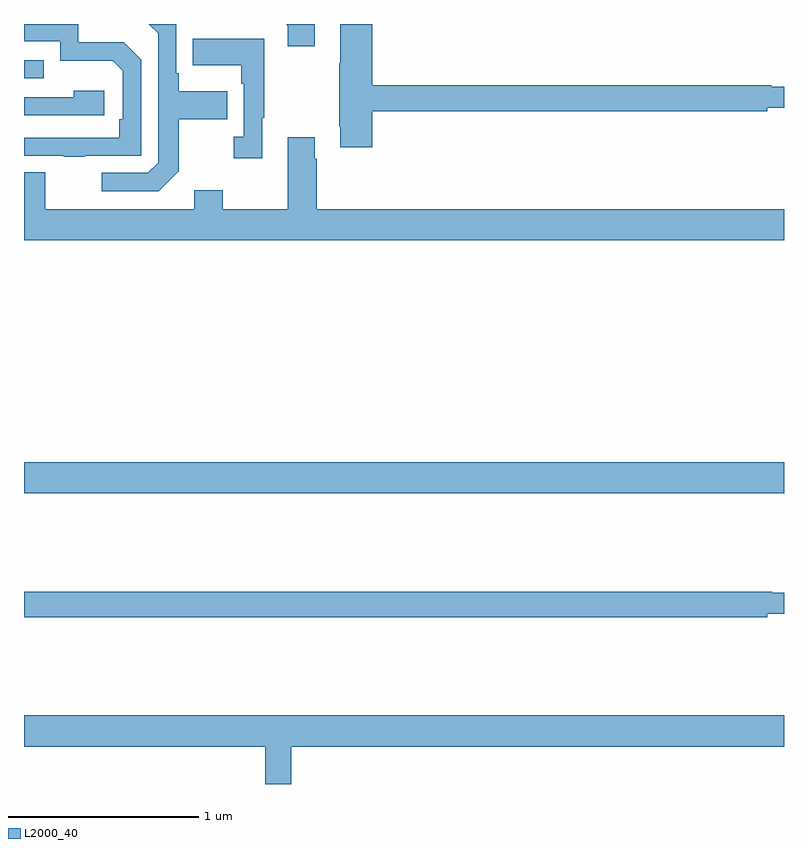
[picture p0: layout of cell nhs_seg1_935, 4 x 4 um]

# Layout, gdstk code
import gdstk
lib = gdstk.Library(unit=1e-6, precision=1e-09)
def R(c, l, rs):  # rectangles x0, y0, x1, y1
    for r in rs: c.add(gdstk.rectangle(r[:2], r[2:], *l))
def P(c, l, *ps):  # polygons
    for p in ps: c.add(gdstk.Polygon(p, *l))
L2000_40 = (2000, 40)

nhs_seg1_935 = lib.new_cell('nhs_seg1_935')
R(nhs_seg1_935, L2000_40, [(161,555.728,165,555.892), (161,557.913,161.105,558.009)])
P(nhs_seg1_935, L2000_40, [(162.833,557.74),(164.912,557.74),(164.912,557.759),(165,557.759),(165,557.869),(164.932,557.869),(164.932,557.876),(162.833,557.876),(162.833,558.199),(162.665,558.199),(162.665,557.993),(162.658,557.993),(162.658,557.662),(162.665,557.662),(162.665,557.55),(162.833,557.55)],
  [(161.815,557.425),(161.815,557.698),(162.071,557.698),(162.071,557.845),(161.815,557.845),(161.815,557.941),(161.802,557.941),(161.802,558.199),(161.657,558.199),(161.706,558.15),(161.706,557.469),(161.652,557.415),(161.409,557.415),(161.409,557.319),(161.709,557.319)],
  [(161.321,557.505),(161.616,557.505),(161.616,558.012),(161.526,558.102),(161.286,558.102),(161.286,558.199),(161,558.199),(161,558.108),(161.19,558.108),(161.19,558.005),(161.467,558.005),(161.52,557.952),(161.52,557.698),(161.5,557.698),(161.5,557.601),(161,557.601),(161,557.505),(161.209,557.505),(161.209,557.5),(161.321,557.5)],
  [(162.529,558.199),(162.382,558.199),(162.382,558.193),(162.389,558.193),(162.389,558.081),(162.529,558.081)],
  [(162.253,557.705),(162.265,557.705),(162.265,558.121),(161.887,558.121),(161.887,557.981),(162.144,557.981),(162.144,557.885),(162.156,557.885),(162.156,557.606),(162.105,557.606),(162.105,557.493),(162.253,557.493)],
  [(161.422,557.848),(161.261,557.848),(161.261,557.814),(161,557.814),(161,557.718),(161.422,557.718)],
  [(165,557.224),(162.542,557.224),(162.542,557.489),(162.529,557.489),(162.529,557.602),(162.389,557.602),(162.389,557.224),(162.045,557.224),(162.045,557.323),(161.897,557.323),(161.897,557.224),(161.113,557.224),(161.113,557.419),(161,557.419),(161,557.06),(165,557.06)],
  [(164.912,555.095),(165,555.095),(165,555.205),(164.939,555.205),(164.939,555.212),(161,555.212),(161,555.076),(164.912,555.076)],
  [(162.407,554.396),(165,554.396),(165,554.56),(161,554.56),(161,554.396),(162.271,554.396),(162.271,554.199),(162.407,554.199)])

lib.write_gds('nhs_seg1_935.gds')
